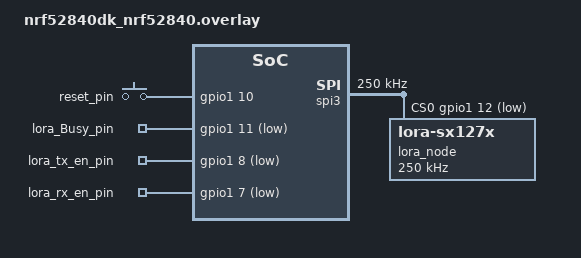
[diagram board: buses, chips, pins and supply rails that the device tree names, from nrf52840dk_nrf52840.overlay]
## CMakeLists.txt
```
cmake_minimum_required(VERSION 3.20.0)
find_package(Zephyr REQUIRED HINTS $ENV{ZEPHYR_BASE})

project(Lora_Transmit)

target_sources(app PRIVATE src/main.c)
target_sources(app PRIVATE lib/lora_driver.c)
target_sources(app PRIVATE lib/gpio_config.c)

target_include_directories(app PRIVATE lib)
```

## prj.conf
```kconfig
CONFIG_GPIO=y
CONFIG_SPI=y
CONFIG_LOG=y
CONFIG_CONSOLE=y
```

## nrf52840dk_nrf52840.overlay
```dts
// To get started, press Ctrl+Space to bring up the completion menu and view the available nodes.

// You can also use the buttons in the sidebar to perform actions on nodes.
// Actions currently available include:

// * Enabling / disabling the node
// * Adding the bus to a bus
// * Removing the node
// * Connecting ADC channels

// For more help, browse the DeviceTree documentation at https://docs.zephyrproject.org/latest/guides/dts/index.html
// You can also visit the nRF DeviceTree extension documentation at https://nrfconnect.github.io/vscode-nrf-connect/devicetree/nrfdevicetree.html

&spi0 {
    status = "disabled";
};

&spi1 {
    status = "disabled";
};

&spi2 {
    status = "disabled";
};

&spi3{
    status = "okay";
    compatible = "nordic,nrf-spim";
    cs-gpios = < &gpio1 12 GPIO_ACTIVE_LOW >;
    clock-frequency = < DT_FREQ_K(250) >;
    // clock-frequency = <8000000>;
    lora_node@0{
        compatible = "lora-sx127x";
        reg = < 0 >;
        spi-max-frequency = < DT_FREQ_K(250) >;
        // spi-max-frequency = <8000000>;
    };
};

/ {
    gpio {
        compatible = "gpio-keys";
        reset_pin: reset_pin{
            gpios = < &gpio1 10 GPIO_ACTIVE_HIGH >;
        };
        busy_pin: busy_pin{
            gpios = < &gpio1 11 GPIO_ACTIVE_LOW >;
            label = "lora_Busy_pin";
        };
        tx_en: tx_en {
            gpios = < &gpio1 8 GPIO_ACTIVE_LOW >;
            label = "lora_tx_en_pin";
        };
        rx_en: rx_en {
            gpios = < &gpio1 7 GPIO_ACTIVE_LOW >;
            label = "lora_rx_en_pin";
        }; 
    };

    aliases {
        resetpin = &reset_pin;
        busypin = &busy_pin;
        tx-en-pin = &tx_en;
        rx-en-pin = &tx_en;
    };
};
```

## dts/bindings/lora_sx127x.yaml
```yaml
description: |
    Semtech lora device SX127X series

compatible: "lora-sx127x"

include: spi-device.yaml
```

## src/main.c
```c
#include <zephyr/kernel.h>
#include <zephyr/device.h>
#include <zephyr/devicetree.h>
#include <zephyr/drivers/gpio.h>
#include <zephyr/drivers/spi.h>
#include <zephyr/logging/log.h>
#include "lora_driver.h"
#include "gpio_config.h"

// LOG_MODULE_REGISTER(lora_sx127x, LOG_LEVEL_INF);
LOG_MODULE_REGISTER(lora_sx126x, LOG_LEVEL_DBG);

// Message to transmit
char message[] = "HeLoRa World!";
uint8_t nBytes = sizeof(message);
uint8_t counter = 0;

uint8_t sf = 9;      // LoRa spreading factor: 7
uint32_t bw = 125000; // Bandwidth: 125 kHz
uint8_t cr = 4;       // Coding rate: 4/5

int main(void)
{
    int ret;
    ret = sx1262_spi_comm_init();
    if (ret)
    {
        return ret;
    }

    sx126x_begin();
    LOG_INF("Starting LORA");
    uint8_t xtalA = 0x12;
    uint8_t xtalB = 0x12;
    
    LOG_INF("Set RF module to use XTAL as clock reference");
    sx126x_setXtalCap(xtalA, xtalB);
    LOG_INF("Setting lora frequecy!");
    sx126x_setFrequency(868000000);
    k_sleep(K_MSEC(100));
    LOG_INF("Set TX power");
    sx126x_setTxPower(17, SX126X_TX_POWER_SX1262);
    LOG_INF("Setting modulation parameters");
    sx126x_setLoRaModulation(sf, bw, cr, false);
    LOG_INF("Setting packet params");
    uint8_t headerType = SX126X_HEADER_EXPLICIT; // Explicit header mode
    uint16_t preambleLength = 12;                // Set preamble length to 12
    uint8_t payloadLength = 15;                  // Initialize payloadLength to 15
    bool crcType = true;                         // Set CRC enable
    sx126x_setLoRaPacket(headerType, preambleLength, payloadLength, crcType, false);
    LOG_INF("Set sync word");
    sx126x_setSyncWord(0x3444);
    LOG_INF("==============LORA TRANSMITTER==============");
    k_sleep(K_MSEC(100));

    while (true)
    {
        sx126x_beginPacket();
        sx126x_write_char(message, nBytes);
        // sx126x_write_data(&counter, 1);
        sx126x_write(&counter);
        sx126x_endPacket(0U);

        LOG_INF("%s %d", message, counter);
        counter++;

        sx126x_wait(0U);
        uint32_t time = sx126x_transmitTime();
        LOG_INF("Transmit Time: %d ms", time);
        uint8_t status = sx126x_status();

        if (status == SX126X_STATUS_TX_DONE)
        {
            LOG_INF("TxDone");
        }
        k_sleep(K_MSEC(5000));
    }

    return 0;
}

// int main(void)
// {
//     sx126x_begin();
//     LOG_INF("Starting LORA");
//     uint8_t xtalA = 0x12;
//     uint8_t xtalB = 0x12;
//     LOG_INF("Set RF module to use XTAL as clock reference");
//     sx126x_setXtalCap(xtalA, xtalB);
//     LOG_INF("Setting lora frequecy!");
//     sx126x_setFrequency(868000000);
//     k_sleep(K_MSEC(100));
//     LOG_INF("Set RX Gain");
//     sx126x_setRxGain(SX126X_RX_GAIN_POWER_SAVING);
//     LOG_INF("Setting modulation parameters");
//     sx126x_setSpreadingFactor(7);
//     sx126x_setBandwidth(125000);
//     sx126x_setCodeRate(5);
//     LOG_INF("Setting packet params");
//     sx126x_setHeaderType(SX127X_HEADER_EXPLICIT);
//     sx126x_setPreambleLength(12);
//     sx126x_setPayloadLength(15);
//     sx126x_setCrcEnable(true);
//     LOG_INF("Set sync word");
//     sx126x_setSyncWord(0x3444);
//     LOG_INF("==============LORA RECEIVER==============");
//     k_sleep(K_MSEC(100));

//     while (true)
//     {
//         LOG_INF("LORA request");
//         sx126x_request(0U);
//         sx126x_wait(0U);

//         // const uint8_t msg_len = sx126x_available() - 1;
//         // char message[msg_len];
//         // sx126x_read_char(message, msg_len);
//         // uint8_t counter;
//         // sx126x_read_data(&counter, 1);

//         // LOG_INF("%s %d", message, counter);
//         // LOG_INF("RSSI: %i", sx126x_packetRssi());
//         // uint8_t status = sx126x_status();
//         // if (status == SX126X_STATUS_CRC_ERR)
//         // {
//         //     LOG_WRN("CRC Error");
//         // } else if (status == SX126X_STATUS_HEADER_ERR)
//         // {
//         //     LOG_WRN("Packet header error");
//         // }

//     }

//     return 0;
// }


// int main(void)
// {
//     int ret;
//     ret = gpio_init();
//     if (ret)
//     {
//         return ret;
//     }
//     sx126x_reset(&lora_reset_pin);

//     LOG_INF("Starting LORA");
//     uint8_t xtalA = 0x12;
//     uint8_t xtalB = 0x12;
//     LOG_INF("Set RF module to use XTAL as clock reference");
//     // sx126x_setXtalCap(xtalA, xtalB);
//     sx127x_setModem(SX127X_LORA_MODEM);
//     sx127x_setTXPower(17, SX127X_TX_POWER_PA_BOOST);
//     // sx127x_setRXGain(SX127X_RX_GAIN_BOOSTED, SX127X_RX_GAIN_AUTO);
//     LOG_INF("Setting lora frequecy!");
//     sx127x_setFrequency(868000000);
//     k_sleep(K_MSEC(100));
//     LOG_INF("Set TX power");
//     sx127x_setTXPower(17, SX127X_TX_POWER_PA_BOOST);
//     LOG_INF("Setting modulation parameters");
//     sx127x_setSpreadingFactor(7);
//     sx127x_setBandwidth(125000);
//     sx127x_setCodeRate(5);
//     LOG_INF("Setting packet params");
//     sx127x_setHeaderType(SX127X_HEADER_EXPLICIT);
//     sx127x_setPreambleLength(12);
//     sx127x_setPayloadLength(15);
//     sx127x_setCrcType(true);
//     LOG_INF("Set sync word");
//     sx127x_setSyncWord(0x3444);
//     sx127x_set_DIO0();
//     LOG_INF("==============LORA TRANSMITTER==============");
//     k_sleep(K_MSEC(100));
//     while (true)
//     {
//         sx127x_beginPacket();
//         sx127x_write_char(message, nBytes);
//         sx127x_write_data(&counter, 1);
//         sx127x_endPacket(0U);

//         LOG_INF("%s %d", message, counter);
//         counter++;

//         sx127x_wait(0U);
//         uint32_t time = sx127x_transmitTime();
//         LOG_INF("Transmit Time: %d ms", time);
//         uint8_t status = sx127x_status();
//         if (status == SX127X_STATUS_TX_DONE)
//         {
//             LOG_INF("TxDone");
//         }
//         k_sleep(K_MSEC(5000));
//     }

//     return 0;
// }
```
